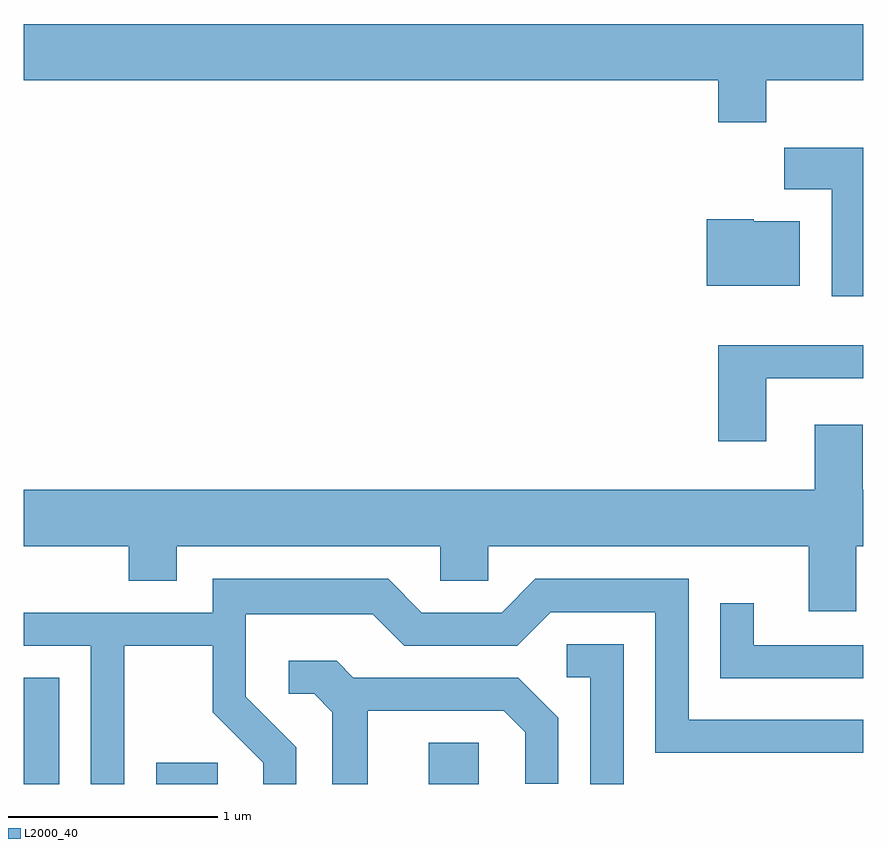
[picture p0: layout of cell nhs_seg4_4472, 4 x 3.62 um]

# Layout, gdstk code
import gdstk
lib = gdstk.Library(unit=1e-6, precision=1e-09)
def R(c, l, rs):  # rectangles x0, y0, x1, y1
    for r in rs: c.add(gdstk.rectangle(r[:2], r[2:], *l))
def P(c, l, *ps):  # polygons
    for p in ps: c.add(gdstk.Polygon(p, *l))
L2000_40 = (2000, 40)

nhs_seg4_4472 = lib.new_cell('nhs_seg4_4472')
R(nhs_seg4_4472, L2000_40, [(315.611,1357.982,315.779,1358.489), (316.241,1357.982,316.534,1358.084), (317.541,1357.982,317.779,1358.179)])
P(nhs_seg4_4472, L2000_40, [(319.149,1361.336),(319.611,1361.336),(319.611,1361.604),(315.611,1361.604),(315.611,1361.336),(318.921,1361.336),(318.921,1361.136),(319.149,1361.136)],
  [(319.611,1361.014),(319.236,1361.014),(319.236,1360.816),(319.461,1360.816),(319.461,1360.306),(319.611,1360.306)],
  [(319.309,1360.664),(319.09,1360.664),(319.09,1360.674),(318.866,1360.674),(318.866,1360.356),(319.309,1360.356)],
  [(319.149,1359.916),(319.611,1359.916),(319.611,1360.074),(318.921,1360.074),(318.921,1359.616),(319.149,1359.616)],
  [(315.611,1359.116),(316.111,1359.116),(316.111,1358.951),(316.339,1358.951),(316.339,1359.116),(317.596,1359.116),(317.596,1358.951),(317.824,1358.951),(317.824,1359.116),(319.351,1359.116),(319.351,1358.806),(319.579,1358.806),(319.579,1359.116),(319.611,1359.116),(319.611,1359.384),(319.609,1359.384),(319.609,1359.694),(319.381,1359.694),(319.381,1359.384),(315.611,1359.384)],
  [(316.089,1358.641),(316.511,1358.641),(316.511,1358.324),(316.751,1358.084),(316.751,1357.982),(316.909,1357.982),(316.909,1358.157),(316.669,1358.397),(316.669,1358.791),(317.274,1358.791),(317.424,1358.641),(317.962,1358.641),(318.122,1358.801),(318.621,1358.801),(318.621,1358.131),(319.611,1358.131),(319.611,1358.289),(318.779,1358.289),(318.779,1358.959),(318.049,1358.959),(317.889,1358.799),(317.507,1358.799),(317.347,1358.959),(316.511,1358.959),(316.511,1358.799),(315.611,1358.799),(315.611,1358.641),(315.931,1358.641),(315.931,1357.982),(316.089,1357.982)],
  [(319.611,1358.644),(319.089,1358.644),(319.089,1358.843),(318.931,1358.843),(318.931,1358.486),(319.611,1358.486)],
  [(318.469,1358.649),(318.198,1358.649),(318.198,1358.491),(318.311,1358.491),(318.311,1357.982),(318.469,1357.982)],
  [(317.249,1358.331),(317.899,1358.331),(318.001,1358.229),(318.001,1357.983),(318.159,1357.983),(318.159,1358.297),(317.967,1358.489),(317.182,1358.489),(317.102,1358.569),(316.873,1358.569),(316.873,1358.411),(316.994,1358.411),(317.081,1358.324),(317.081,1357.982),(317.249,1357.982)])

lib.write_gds('nhs_seg4_4472.gds')
